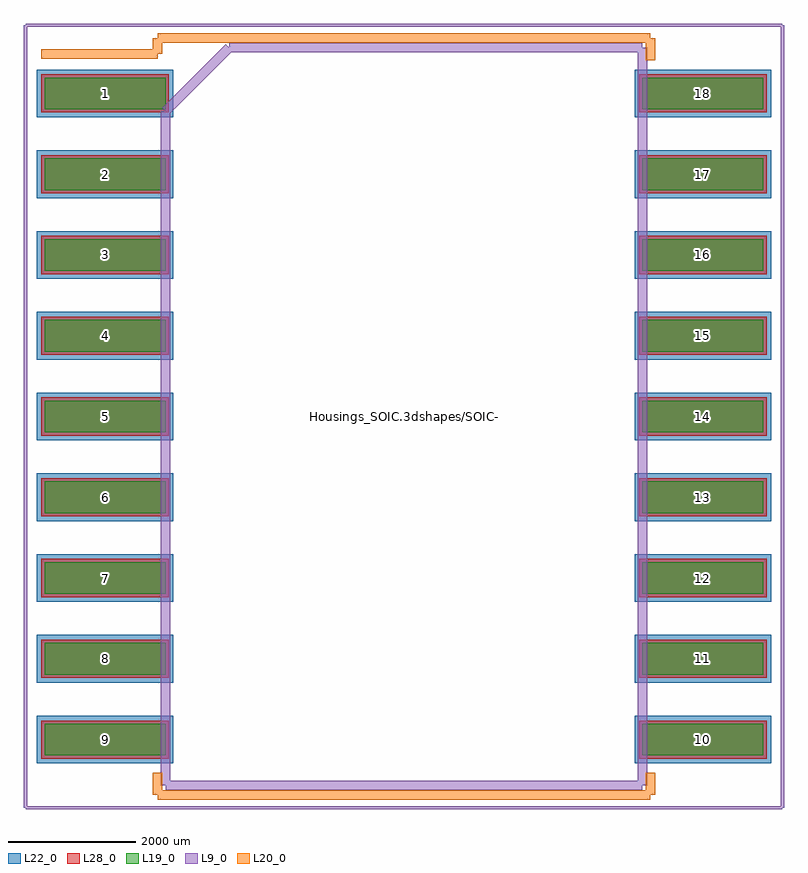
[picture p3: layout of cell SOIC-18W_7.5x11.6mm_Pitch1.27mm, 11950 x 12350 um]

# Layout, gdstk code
import gdstk
lib = gdstk.Library(unit=1e-6, precision=1e-09)
def R(c, l, rs):  # rectangles x0, y0, x1, y1
    for r in rs: c.add(gdstk.rectangle(r[:2], r[2:], *l))
def A(c, l, x, y, w, h, nx, ny, dx, dy):  # array of equal rectangles
    R(c, l, [(x+i*dx, y+j*dy, x+i*dx+w, y+j*dy+h) for i in range(nx) for j in range(ny)])
L9_0 = (9, 0)
L19_0 = (19, 0)
L20_0 = (20, 0)
L22_0 = (22, 0)
L28_0 = (28, 0)

soic_18w_7_5x11_6mm_pitc = lib.new_cell('SOIC-18W_7.5x11.6mm_Pitch1.27mm')
A(soic_18w_7_5x11_6mm_pitc, L19_0, -5650, -5330, 1900, 500, 1, 9, 0, 1270)
A(soic_18w_7_5x11_6mm_pitc, L19_0, 3750, -5330, 1900, 500, 1, 9, 0, 1270)
A(soic_18w_7_5x11_6mm_pitc, L22_0, -5775, -5455, 2150, 750, 1, 9, 0, 1270)
A(soic_18w_7_5x11_6mm_pitc, L22_0, 3625, -5455, 2150, 750, 1, 9, 0, 1270)
A(soic_18w_7_5x11_6mm_pitc, L28_0, -5700, -5380, 2000, 600, 1, 9, 0, 1270)
A(soic_18w_7_5x11_6mm_pitc, L28_0, 3700, -5380, 2000, 600, 1, 9, 0, 1270)
soic_18w_7_5x11_6mm_pitc.add(gdstk.FlexPath([(-3875,5700),(-5700,5700)], 149.998, ends="flush", simple_path=True, layer=20, datatype=0))  # L20_0
soic_18w_7_5x11_6mm_pitc.add(gdstk.FlexPath([(-3875,-5950),(3875,-5950)], 149.998, ends="flush", simple_path=True, layer=20, datatype=0))  # L20_0
soic_18w_7_5x11_6mm_pitc.add(gdstk.FlexPath([(-3875,5950),(3875,5950)], 149.998, ends="flush", simple_path=True, layer=20, datatype=0))  # L20_0
soic_18w_7_5x11_6mm_pitc.add(gdstk.FlexPath([(-3875,-5950),(-3875,-5605)], 149.998, ends="flush", simple_path=True, layer=20, datatype=0))  # L20_0
soic_18w_7_5x11_6mm_pitc.add(gdstk.FlexPath([(3875,-5950),(3875,-5605)], 149.998, ends="flush", simple_path=True, layer=20, datatype=0))  # L20_0
soic_18w_7_5x11_6mm_pitc.add(gdstk.FlexPath([(3875,5950),(3875,5605)], 149.998, ends="flush", simple_path=True, layer=20, datatype=0))  # L20_0
soic_18w_7_5x11_6mm_pitc.add(gdstk.FlexPath([(-3875,5950),(-3875,5700)], 149.998, ends="flush", simple_path=True, layer=20, datatype=0))  # L20_0
soic_18w_7_5x11_6mm_pitc.add(gdstk.FlexPath([(-5950,-6150),(5950,-6150)], 50, ends="flush", simple_path=True, layer=9, datatype=0))  # L9_0
soic_18w_7_5x11_6mm_pitc.add(gdstk.FlexPath([(-5950,6150),(5950,6150)], 50, ends="flush", simple_path=True, layer=9, datatype=0))  # L9_0
soic_18w_7_5x11_6mm_pitc.add(gdstk.FlexPath([(5950,6150),(5950,-6150)], 50, ends="flush", simple_path=True, layer=9, datatype=0))  # L9_0
soic_18w_7_5x11_6mm_pitc.add(gdstk.FlexPath([(-5950,6150),(-5950,-6150)], 50, ends="flush", simple_path=True, layer=9, datatype=0))  # L9_0
soic_18w_7_5x11_6mm_pitc.add(gdstk.FlexPath([(-3750,4800),(-2750,5800)], 149.998, ends="flush", simple_path=True, layer=9, datatype=0))  # L9_0
soic_18w_7_5x11_6mm_pitc.add(gdstk.FlexPath([(-3750,-5800),(-3750,4800)], 149.998, ends="flush", simple_path=True, layer=9, datatype=0))  # L9_0
soic_18w_7_5x11_6mm_pitc.add(gdstk.FlexPath([(3750,-5800),(-3750,-5800)], 149.998, ends="flush", simple_path=True, layer=9, datatype=0))  # L9_0
soic_18w_7_5x11_6mm_pitc.add(gdstk.FlexPath([(3750,5800),(3750,-5800)], 149.998, ends="flush", simple_path=True, layer=9, datatype=0))  # L9_0
soic_18w_7_5x11_6mm_pitc.add(gdstk.FlexPath([(-2750,5800),(3750,5800)], 149.998, ends="flush", simple_path=True, layer=9, datatype=0))  # L9_0
soic_18w_7_5x11_6mm_pitc.add(gdstk.Label('Housings_SOIC.3dshapes/SOIC-18_7.5x11.6mm_Pitch1.27mm.wrl', (0,0), layer=12, texttype=0))
soic_18w_7_5x11_6mm_pitc.add(gdstk.Label('18', (4700,5080), layer=28, texttype=0))
soic_18w_7_5x11_6mm_pitc.add(gdstk.Label('17', (4700,3810), layer=28, texttype=0))
soic_18w_7_5x11_6mm_pitc.add(gdstk.Label('16', (4700,2540), layer=28, texttype=0))
soic_18w_7_5x11_6mm_pitc.add(gdstk.Label('15', (4700,1270), layer=28, texttype=0))
soic_18w_7_5x11_6mm_pitc.add(gdstk.Label('14', (4700,0), layer=28, texttype=0))
soic_18w_7_5x11_6mm_pitc.add(gdstk.Label('13', (4700,-1270), layer=28, texttype=0))
soic_18w_7_5x11_6mm_pitc.add(gdstk.Label('12', (4700,-2540), layer=28, texttype=0))
soic_18w_7_5x11_6mm_pitc.add(gdstk.Label('11', (4700,-3810), layer=28, texttype=0))
soic_18w_7_5x11_6mm_pitc.add(gdstk.Label('10', (4700,-5080), layer=28, texttype=0))
soic_18w_7_5x11_6mm_pitc.add(gdstk.Label('9', (-4700,-5080), layer=28, texttype=0))
soic_18w_7_5x11_6mm_pitc.add(gdstk.Label('8', (-4700,-3810), layer=28, texttype=0))
soic_18w_7_5x11_6mm_pitc.add(gdstk.Label('7', (-4700,-2540), layer=28, texttype=0))
soic_18w_7_5x11_6mm_pitc.add(gdstk.Label('6', (-4700,-1270), layer=28, texttype=0))
soic_18w_7_5x11_6mm_pitc.add(gdstk.Label('5', (-4700,0), layer=28, texttype=0))
soic_18w_7_5x11_6mm_pitc.add(gdstk.Label('4', (-4700,1270), layer=28, texttype=0))
soic_18w_7_5x11_6mm_pitc.add(gdstk.Label('3', (-4700,2540), layer=28, texttype=0))
soic_18w_7_5x11_6mm_pitc.add(gdstk.Label('2', (-4700,3810), layer=28, texttype=0))
soic_18w_7_5x11_6mm_pitc.add(gdstk.Label('1', (-4700,5080), layer=28, texttype=0))
soic_18w_7_5x11_6mm_pitc.add(gdstk.Label('type', (0,-6875), layer=9, texttype=0))
soic_18w_7_5x11_6mm_pitc.add(gdstk.Label('devicename', (0,6875), layer=9, texttype=0))

lib.write_gds('SOIC-18W_7.5x11.6mm_Pitch1.27mm.gds')
